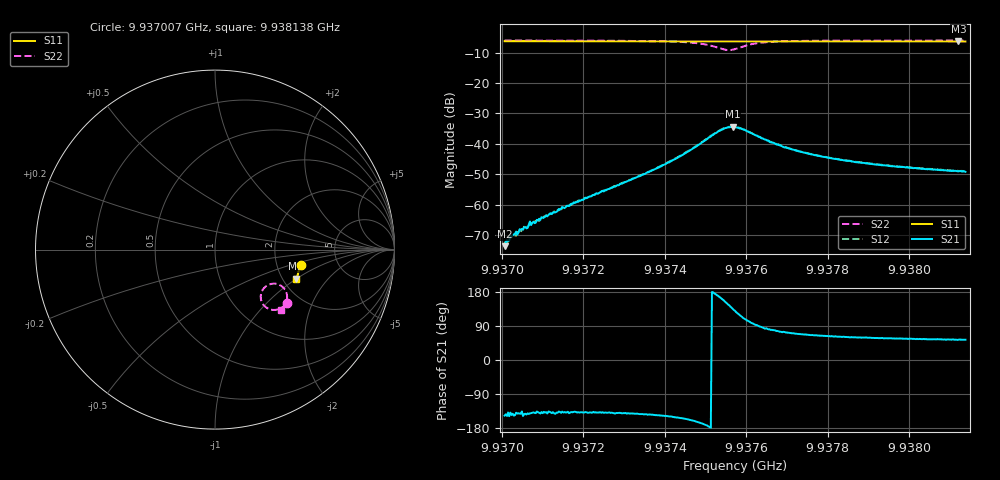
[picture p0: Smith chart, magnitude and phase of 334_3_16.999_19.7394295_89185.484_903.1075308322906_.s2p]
#  HZ  S  RI  R  50.00
! Rohde & Schwarz Vector Network Analyzer
! Rohde-Schwarz,ZNB20-2Port,1311601062101988,3.16
! Created: UTC 3/20/2024, 11:07:03 PM
! freq[Hz]  re:S11  im:S11  re:S21  im:S21  re:S12  im:S12  re:S22  im:S22
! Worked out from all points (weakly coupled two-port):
!   401 points, 9.937007 GHz to 9.938138 GHz, reference 50 ohm
!   highest |S21| = -34.36 dB at 9.937567 GHz (marker M1); lowest = -73.6 dB at 9.937007 GHz (marker M2)
!   lowest |S11| = -6.4 dB at 9.938121 GHz (marker M3), VSWR 2.85, Z = 118 - j49.4 ohm
!   |S11| at or under -10 dB: nowhere
!   |S22| runs from -9.2 to -6.0 dB; largest |S21 - S12| = 0.00087
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9.9370067e9  0.4765 -0.0886  -0.000175 -0.000114  -0.000209 -0.0001  0.3986 -0.3002
9.9370236e9  0.4761 -0.0897  -0.000244 -0.000171  -0.000248 -0.000162  0.3975 -0.3016
9.9370293e9  0.4761 -0.0901  -0.000273 -0.000179  -0.000259 -0.000196  0.3973 -0.3018
9.9370576e9  0.4756 -0.0919  -0.00034 -0.000267  -0.000333 -0.00029  0.3953 -0.3039
9.9370717e9  0.4753 -0.0929  -0.000358 -0.000297  -0.000388 -0.000321  0.3942 -0.3049
9.9370774e9  0.4752 -0.0933  -0.000395 -0.000351  -0.000401 -0.000298  0.3938 -0.3054
9.9371142e9  0.4747 -0.096  -0.00049 -0.000472  -0.000542 -0.000477  0.3911 -0.3081
9.9371962e9  0.4731 -0.1014  -0.000898 -0.000811  -0.000931 -0.000771  0.3838 -0.3146
9.9373857e9  0.4692 -0.1142  -0.00341 -0.00231  -0.00352 -0.00233  0.3526 -0.3326
9.9374423e9  0.4677 -0.1181  -0.00587 -0.00291  -0.00601 -0.00283  0.3296 -0.3363
9.9374989e9  0.4659 -0.1217  -0.0112 -0.0018  -0.0115 -0.00165  0.2851 -0.3223
9.9375413e9  0.4642 -0.1239  -0.0162 0.00575  -0.0165 0.0062  0.2551 -0.2548
9.9375668e9  0.4639 -0.1246  -0.0136 0.0135  -0.0132 0.0141  0.2895 -0.2005
9.9375724e9  0.4638 -0.1247  -0.012 0.0143  -0.0116 0.0151  0.3031 -0.1939
9.9375922e9  0.464 -0.1257  -0.00619 0.0161  -0.00595 0.0164  0.3482 -0.1925
9.9376318e9  0.464 -0.1286  0.000298 0.013  0.00049 0.0132  0.3931 -0.2288
9.9376941e9  0.4628 -0.133  0.00244 0.00839  0.00275 0.00855  0.4014 -0.2708
9.937762e9  0.4613 -0.1377  0.00274 0.00613  0.00287 0.00611  0.3964 -0.2931
9.9378695e9  0.4588 -0.1448  0.00251 0.00431  0.00264 0.00434  0.3868 -0.3116
9.9379515e9  0.4568 -0.1503  0.00236 0.00364  0.00245 0.00366  0.3804 -0.3209
9.9381212e9  0.4523 -0.1611  0.0021 0.00285  0.00218 0.00286  0.3685 -0.3345
9.9381382e9  0.4519 -0.1624  0.00207 0.0028  0.00217 0.00283  0.3676 -0.3356
